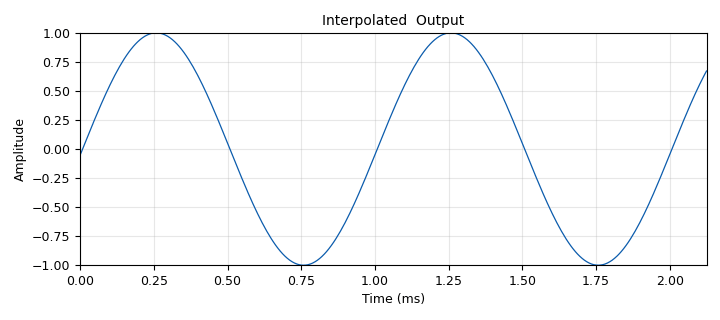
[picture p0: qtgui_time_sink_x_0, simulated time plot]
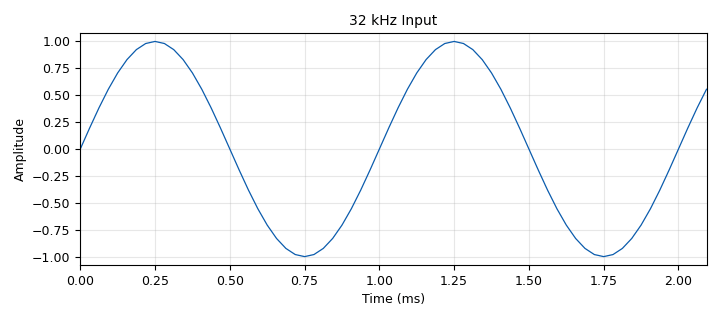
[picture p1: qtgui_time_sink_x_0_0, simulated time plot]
<?xml version='1.0' encoding='utf-8'?>
<?grc format='1' created='3.7.13'?>
<flow_graph>
<block>
<key>options</key>
<param><key>id</key><value>top_block</value></param>
<param><key>generate_options</key><value>qt_gui</value></param>
</block>
<block>
<key>variable</key>
<param><key>id</key><value>samp_rate</value></param>
<param><key>value</key><value>32000</value></param>
</block>
<block>
<key>analog_sig_source_x</key>
<param><key>id</key><value>analog_sig_source_x_0</value></param>
<param><key>amp</key><value>1</value></param>
<param><key>freq</key><value>1000</value></param>
<param><key>offset</key><value>0</value></param>
<param><key>type</key><value>float</value></param>
<param><key>samp_rate</key><value>samp_rate</value></param>
<param><key>waveform</key><value>analog.GR_COS_WAVE</value></param>
</block>
<block>
<key>blocks_throttle</key>
<param><key>id</key><value>blocks_throttle_0</value></param>
<param><key>samples_per_second</key><value>samp_rate</value></param>
<param><key>type</key><value>float</value></param>
</block>
<block>
<key>qtgui_time_sink_x</key>
<param><key>id</key><value>qtgui_time_sink_x_0</value></param>
<param><key>ctrlpanel</key><value>True</value></param>
<param><key>color1</key><value>"blue"</value></param>
<param><key>label1</key><value></value></param>
<param><key>style1</key><value>3</value></param>
<param><key>name</key><value>"Interpolated  Output"</value></param>
<param><key>size</key><value>((1024)*4)/15</value></param>
<param><key>srate</key><value>samp_rate*4</value></param>
<param><key>tr_mode</key><value>qtgui.TRIG_MODE_AUTO</value></param>
<param><key>type</key><value>float</value></param>
</block>
<block>
<key>qtgui_time_sink_x</key>
<param><key>id</key><value>qtgui_time_sink_x_0_0</value></param>
<param><key>ctrlpanel</key><value>True</value></param>
<param><key>color1</key><value>"blue"</value></param>
<param><key>label1</key><value></value></param>
<param><key>style1</key><value>3</value></param>
<param><key>name</key><value>"32 kHz Input"</value></param>
<param><key>size</key><value>1024/15</value></param>
<param><key>srate</key><value>samp_rate</value></param>
<param><key>tr_mode</key><value>qtgui.TRIG_MODE_AUTO</value></param>
<param><key>type</key><value>float</value></param>
</block>
<block>
<key>rational_resampler_xxx</key>
<param><key>id</key><value>rational_resampler_xxx_0</value></param>
<param><key>decim</key><value>1</value></param>
<param><key>interp</key><value>4</value></param>
<param><key>taps</key><value></value></param>
<param><key>type</key><value>fff</value></param>
</block>
<connection><source_block_id>analog_sig_source_x_0</source_block_id><sink_block_id>blocks_throttle_0</sink_block_id><source_key>0</source_key><sink_key>0</sink_key></connection>
<connection><source_block_id>blocks_throttle_0</source_block_id><sink_block_id>qtgui_time_sink_x_0_0</sink_block_id><source_key>0</source_key><sink_key>0</sink_key></connection>
<connection><source_block_id>blocks_throttle_0</source_block_id><sink_block_id>rational_resampler_xxx_0</sink_block_id><source_key>0</source_key><sink_key>0</sink_key></connection>
<connection><source_block_id>rational_resampler_xxx_0</source_block_id><sink_block_id>qtgui_time_sink_x_0</sink_block_id><source_key>0</source_key><sink_key>0</sink_key></connection>
</flow_graph>
